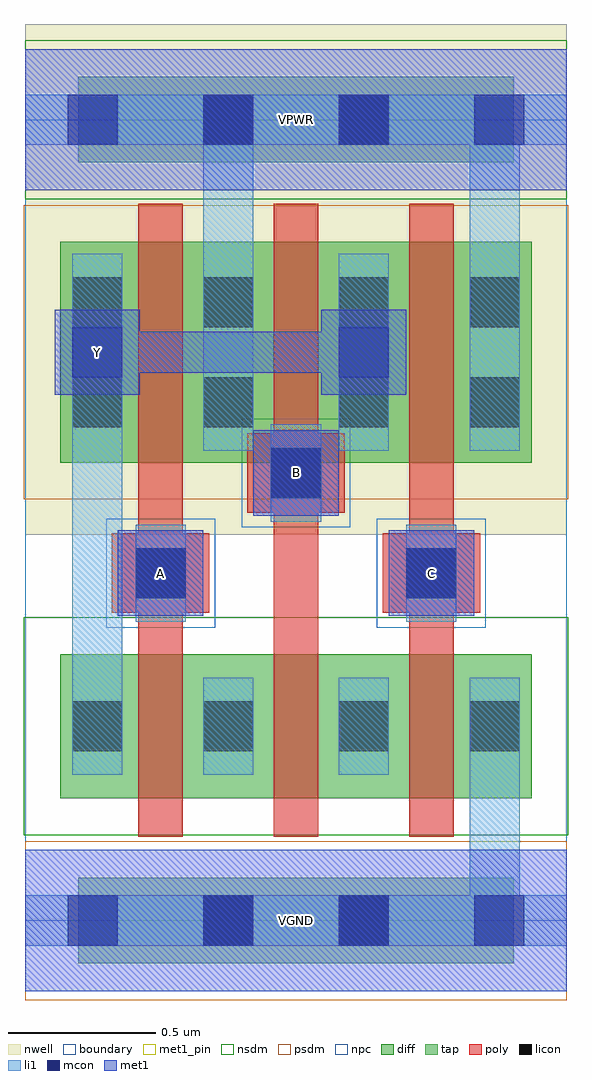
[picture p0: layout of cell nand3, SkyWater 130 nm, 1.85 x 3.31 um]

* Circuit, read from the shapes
.subckt nand3 A B C VGND VPWR Y
XM1 n1 A Y VGND sky130_fd_pr__nfet_01v8 w=0.49 l=0.15
XM2 n2 B n1 VGND sky130_fd_pr__nfet_01v8 w=0.49 l=0.15
XM3 VGND C n2 VGND sky130_fd_pr__nfet_01v8 w=0.49 l=0.15
XM4 VPWR A Y VPWR sky130_fd_pr__pfet_01v8 w=0.75 l=0.15
XM5 Y B VPWR VPWR sky130_fd_pr__pfet_01v8 w=0.84 l=0.1554
XM6 VPWR C Y VPWR sky130_fd_pr__pfet_01v8 w=0.75 l=0.15
.ends

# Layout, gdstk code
import gdstk
lib = gdstk.Library(unit=1e-6, precision=1e-09)
def R(c, l, rs):  # rectangles x0, y0, x1, y1
    for r in rs: c.add(gdstk.rectangle(r[:2], r[2:], *l))
def A(c, l, x, y, w, h, nx, ny, dx, dy):  # array of equal rectangles
    R(c, l, [(x+i*dx, y+j*dy, x+i*dx+w, y+j*dy+h) for i in range(nx) for j in range(ny)])
nwell = (64, 20)
diff = (65, 20)
tap = (65, 44)
poly = (66, 20)
licon = (66, 44)
li1 = (67, 20)
mcon = (67, 44)
met1_pin = (68, 16)
met1 = (68, 20)
nsdm = (93, 44)
psdm = (94, 20)
npc = (95, 20)
boundary = (235, 4)

nand3 = lib.new_cell('nand3')
R(nand3, nwell, [(0,1.31,1.84,3.045)])
R(nand3, diff, [(0.12,0.415,1.72,0.905), (0.12,1.555,1.72,2.305)])
R(nand3, tap, [(0.18,-0.145,1.66,0.145), (0.18,2.575,1.66,2.865)])
A(nand3, poly, 0.385, 0.285, 0.15, 2.15, 3, 1, 0.46, 0)
R(nand3, poly, [(0.295,1.045,0.625,1.315), (1.215,1.045,1.545,1.315), (0.755,1.385,1.085,1.655)])
R(nand3, licon, [(0.605,-0.085,0.775,0.085), (1.065,-0.085,1.235,0.085), (0.16,0.575,0.33,0.745), (0.605,0.575,0.775,0.745), (1.065,0.575,1.235,0.745), (1.51,0.575,1.68,0.745), (0.375,1.095,0.545,1.265), (1.295,1.095,1.465,1.265), (0.835,1.435,1.005,1.605), (0.16,1.675,0.33,1.845), (0.605,1.675,0.775,1.845), (1.065,1.675,1.235,1.845), (1.51,1.675,1.68,1.845), (0.16,2.015,0.33,2.185), (0.605,2.015,0.775,2.185), (1.065,2.015,1.235,2.185), (1.51,2.015,1.68,2.185), (0.605,2.635,0.775,2.805), (1.065,2.635,1.235,2.805)])
R(nand3, li1, [(0,-0.085,1.84,0.085), (1.51,-0.085,1.68,0.825), (0.16,0.495,0.33,0.825), (0.16,0.495,0.33,2.265), (0.605,0.495,0.775,0.825), (1.065,0.495,1.235,0.825), (1.51,0.495,1.68,0.825), (0.375,1.015,0.545,1.345), (1.295,1.015,1.465,1.345), (0.835,1.355,1.005,1.685), (0.16,1.595,0.33,2.265), (0.605,1.595,0.775,2.265), (0.605,1.595,0.775,2.805), (1.065,1.595,1.235,2.265), (1.51,1.595,1.68,2.265), (1.51,1.595,1.68,2.805), (0,2.635,1.84,2.805)])
A(nand3, mcon, 0.145, -0.085, 0.17, 0.17, 4, 2, 0.46, 2.72)
R(nand3, mcon, [(0.375,1.095,0.545,1.265), (1.295,1.095,1.465,1.265), (0.835,1.435,1.005,1.605), (0.16,1.845,0.33,2.015), (1.065,1.845,1.235,2.015)])
R(nand3, met1_pin, [(0,-0.24,1.84,0.24), (0.315,1.035,0.605,1.325), (1.235,1.035,1.525,1.325), (0.775,1.375,1.065,1.665), (0.1,1.785,0.39,2.075), (0,2.48,1.84,2.96)])
R(nand3, met1, [(0,-0.24,1.84,0.24), (0.315,1.035,0.605,1.325), (1.235,1.035,1.525,1.325), (0.775,1.375,1.065,1.665), (0.1,1.785,0.39,2.075), (1.005,1.785,1.295,2.075), (0.1,1.86,1.295,2), (0,2.48,1.84,2.96)])
R(nand3, nsdm, [(-0.005,0.29,1.845,1.03), (0,2.45,1.84,2.99)])
R(nand3, psdm, [(0,-0.27,1.84,0.27), (-0.005,1.43,1.845,2.43)])
R(nand3, npc, [(0.275,0.995,0.645,1.365), (1.195,0.995,1.565,1.365), (0.735,1.335,1.105,1.705)])
R(nand3, boundary, [(0,0,1.84,2.72)])
nand3.add(gdstk.Label('Y', (0.245,1.93), layer=68, texttype=5))
nand3.add(gdstk.Label('A', (0.46,1.18), layer=68, texttype=5))
nand3.add(gdstk.Label('B', (0.92,1.52), layer=68, texttype=5))
nand3.add(gdstk.Label('C', (1.38,1.18), layer=68, texttype=5))
nand3.add(gdstk.Label('VPWR', (0.92,2.72), layer=68, texttype=5))
nand3.add(gdstk.Label('VGND', (0.92,0), layer=68, texttype=5))
nand3.add(gdstk.Label('Y', (0.245,1.93), layer=68, texttype=16))
nand3.add(gdstk.Label('A', (0.46,1.18), layer=68, texttype=16))
nand3.add(gdstk.Label('B', (0.92,1.52), layer=68, texttype=16))
nand3.add(gdstk.Label('C', (1.38,1.18), layer=68, texttype=16))
nand3.add(gdstk.Label('VPWR', (0.92,2.72), layer=68, texttype=16))
nand3.add(gdstk.Label('VGND', (0.92,0), layer=68, texttype=16))

lib.write_gds('nand3.gds')
